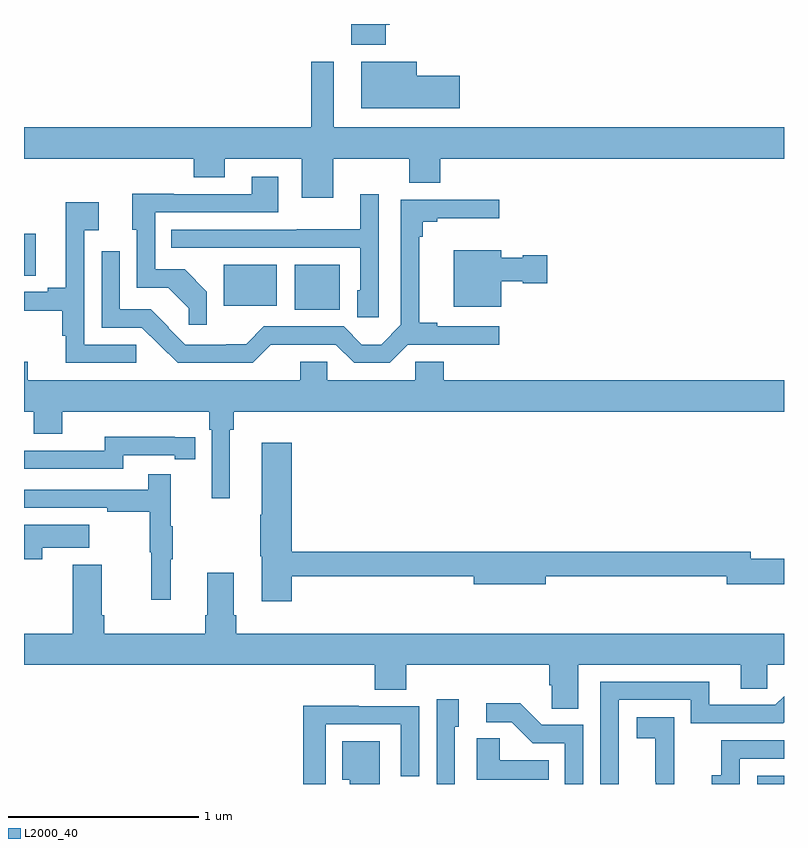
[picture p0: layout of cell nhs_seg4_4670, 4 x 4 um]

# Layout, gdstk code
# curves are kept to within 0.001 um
import gdstk
lib = gdstk.Library(unit=1e-6, precision=1e-09)
def R(c, l, rs):  # rectangles x0, y0, x1, y1
    for r in rs: c.add(gdstk.rectangle(r[:2], r[2:], *l))
def P(c, l, *ps):  # polygons
    for p in ps: c.add(gdstk.Polygon(p, *l))
L2000_40 = (2000, 40)

nhs_seg4_4670 = lib.new_cell('nhs_seg4_4670')
R(nhs_seg4_4670, L2000_40, [(366.858,754.9,367,754.944), (364.424,757.397,364.663,757.633), (364.052,757.418,364.33,757.633), (363,757.576,363.061,757.797)])
P(nhs_seg4_4670, L2000_40, [(364.905,758.896),(364.925,758.896),(364.925,758.9),(364.722,758.9),(364.722,758.792),(364.905,758.792)],
  [(365.293,758.627),(365.068,758.627),(365.068,758.701),(364.775,758.701),(364.775,758.456),(365.293,758.456)],
  [(364.63,758.701),(364.513,758.701),(364.513,758.356),(363,758.356),(363,758.192),(363.893,758.192),(363.893,758.093),(364.057,758.093),(364.057,758.192),(364.463,758.192),(364.463,757.986),(364.627,757.986),(364.627,758.192),(365.027,758.192),(365.027,758.064),(365.191,758.064),(365.191,758.192),(367,758.192),(367,758.356),(364.63,758.356)],
  [(363.963,757.492),(363.847,757.608),(363.69,757.608),(363.69,757.908),(364.339,757.908),(364.339,758.095),(364.199,758.095),(364.199,758.004),(363.787,758.004),(363.787,758.006),(363.569,758.006),(363.569,757.818),(363.594,757.818),(363.594,757.512),(363.76,757.512),(363.868,757.404),(363.868,757.317),(363.963,757.317)],
  [(364.866,758.005),(364.769,758.005),(364.769,757.819),(364.435,757.819),(364.435,757.818),(363.775,757.818),(363.775,757.722),(364.77,757.722),(364.77,757.5),(364.754,757.5),(364.754,757.357),(364.866,757.357)],
  [(364.298,757.211),(364.641,757.212),(364.737,757.116),(364.924,757.116),(365.02,757.212),(365.5,757.211),(365.5,757.308),(365.176,757.308),(365.176,757.328),(365.081,757.328),(365.081,757.781),(365.099,757.781),(365.099,757.858),(365.176,757.858),(365.176,757.877),(365.5,757.877),(365.5,757.976),(365.287,757.976),(365.287,757.974),(364.983,757.974),(364.983,757.317),(364.879,757.213),(364.778,757.213),(364.683,757.308),(364.263,757.308),(364.169,757.214),(364.064,757.214),(364.064,757.212),(363.849,757.212),(363.759,757.302),(363.761,757.304),(363.667,757.398),(363.504,757.398),(363.504,757.705),(363.408,757.705),(363.408,757.302),(363.621,757.302),(363.809,757.116),(364.203,757.116)],
  [(363.591,757.212),(363.318,757.212),(363.318,757.814),(363.394,757.814),(363.394,757.963),(363.221,757.963),(363.221,757.511),(363.125,757.511),(363.125,757.491),(363,757.491),(363,757.39),(363.202,757.39),(363.202,757.259),(363.221,757.259),(363.221,757.116),(363.591,757.116)],
  [(365.512,757.547),(365.625,757.547),(365.625,757.535),(365.755,757.535),(365.755,757.682),(365.625,757.682),(365.625,757.669),(365.512,757.669),(365.512,757.708),(365.261,757.708),(365.261,757.412),(365.512,757.412)],
  [(364.084,756.764),(364.103,756.764),(364.103,756.86),(367,756.86),(367,757.024),(365.21,757.024),(365.21,757.122),(365.058,757.122),(365.058,757.024),(364.596,757.024),(364.596,757.122),(364.454,757.122),(364.454,757.024),(363.019,757.024),(363.019,757.123),(363,757.123),(363,756.86),(363.05,756.86),(363.05,756.743),(363.202,756.743),(363.202,756.86),(363.974,756.86),(363.974,756.764),(363.987,756.764),(363.987,756.405),(364.084,756.405)],
  [(363.522,756.63),(363.794,756.63),(363.794,756.61),(363.902,756.61),(363.902,756.726),(363.794,756.726),(363.794,756.727),(363.426,756.727),(363.426,756.654),(363,756.654),(363,756.558),(363.522,756.558)],
  [(364.409,755.994),(365.366,755.994),(365.366,755.951),(365.746,755.951),(365.746,755.994),(366.698,755.994),(366.698,755.951),(367,755.951),(367,756.086),(366.826,756.086),(366.826,756.122),(364.409,756.122),(364.409,756.697),(364.25,756.697),(364.25,756.317),(364.243,756.317),(364.243,756.099),(364.25,756.099),(364.25,755.862),(364.409,755.862)],
  [(363.773,756.083),(363.784,756.083),(363.784,756.257),(363.773,756.257),(363.773,756.529),(363.655,756.529),(363.655,756.45),(363,756.45),(363,756.354),(363.439,756.354),(363.439,756.334),(363.663,756.334),(363.663,756.12),(363.67,756.12),(363.67,755.871),(363.773,755.871)],
  [(363.095,756.143),(363.343,756.143),(363.343,756.265),(363,756.265),(363,756.084),(363.095,756.084)],
  [(365.917,755.528),(366.773,755.528),(366.773,755.401),(366.912,755.401),(366.912,755.528),(367,755.528),(367,755.692),(364.118,755.692),(364.118,755.788),(364.105,755.788),(364.105,756.013),(363.965,756.013),(363.965,755.788),(363.953,755.788),(363.953,755.692),(363.422,755.692),(363.422,755.788),(363.409,755.788),(363.409,756.055),(363.257,756.055),(363.257,755.692),(363,755.692),(363,755.528),(364.847,755.528),(364.847,755.395),(365.012,755.395),(365.012,755.528),(365.765,755.528),(365.765,755.419),(365.778,755.419),(365.778,755.296),(365.917,755.296)],
  [(366.129,755.343),(366.51,755.343),(366.51,755.22),(366.996,755.22),(367,755.224),(367,755.362),(366.954,755.316),(366.607,755.316),(366.607,755.439),(366.033,755.439),(366.033,754.9),(366.129,754.9)],
  [(365.268,755.202),(365.287,755.202),(365.287,755.347),(365.172,755.347),(365.172,754.9),(365.268,754.9)],
  [(365.943,755.211),(365.724,755.211),(365.611,755.324),(365.433,755.324),(365.433,755.226),(365.567,755.226),(365.678,755.115),(365.847,755.115),(365.847,754.9),(365.943,754.9)],
  [(364.587,755.214),(364.983,755.214),(364.983,754.941),(365.079,754.941),(365.079,755.31),(364.763,755.31),(364.763,755.312),(364.471,755.312),(364.471,754.9),(364.587,754.9)],
  [(366.422,755.045),(366.423,755.045),(366.423,755.251),(366.225,755.251),(366.225,755.141),(366.323,755.141),(366.323,754.913),(366.324,754.913),(366.324,754.9),(366.422,754.9)],
  [(365.762,755.026),(365.505,755.026),(365.505,755.141),(365.384,755.141),(365.384,754.922),(365.762,754.922)],
  [(366.768,755.034),(367,755.034),(367,755.13),(366.67,755.13),(366.67,754.945),(366.621,754.945),(366.621,754.9),(366.768,754.9)],
  [(364.873,755.125),(364.676,755.125),(364.676,754.922),(364.715,754.922),(364.715,754.9),(364.873,754.9)])

lib.write_gds('nhs_seg4_4670.gds')
